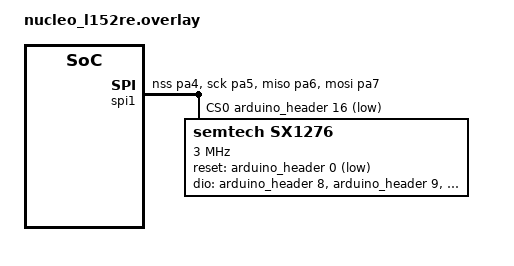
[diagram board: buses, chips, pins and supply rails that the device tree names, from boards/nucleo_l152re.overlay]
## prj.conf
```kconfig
CONFIG_LOG=y
CONFIG_SPI=y
CONFIG_GPIO=y
CONFIG_LORA=y
CONFIG_LORA_SX12XX=y
CONFIG_LORA_SX127X=y
CONFIG_LORAWAN=y
# CONFIG_LORAMAC_REGION_IN865=y
CONFIG_LORAMAC_REGION_US915=y
CONFIG_HAS_SEMTECH_RADIO_DRIVERS=y
CONFIG_HAS_SEMTECH_SOFT_SE=y
# CONFIG_HAS_SEMTECH_SX1276=y
# CONFIG_SPI_LOG_LEVEL_DBG=y
CONFIG_LORA_LOG_LEVEL_DBG=y
CONFIG_LORAWAN_LOG_LEVEL_DBG=y

CONFIG_MAIN_STACK_SIZE=2048
CONFIG_SYSTEM_WORKQUEUE_STACK_SIZE=2048
CONFIG_SETTINGS_LOG_LEVEL_DBG=y
CONFIG_SETTINGS=y
CONFIG_SETTINGS_NVS=y
CONFIG_SETTINGS_NVS_SECTOR_SIZE_MULT=4
CONFIG_SETTINGS_NVS_SECTOR_COUNT=8
# CONFIG_SETTINGS_RUNTIME=y
CONFIG_NVS=y
CONFIG_FLASH=y
CONFIG_FLASH_MAP=y
CONFIG_FLASH_PAGE_LAYOUT=y
CONFIG_LORAWAN_NVM_SETTINGS=y
```

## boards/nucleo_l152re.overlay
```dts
/ {
	aliases {
		lora0 = &lora;
	};
};

arduino_spi: &spi1 {};

&arduino_spi {
    status = "okay";

	pinctrl-0 = <&spi1_nss_pa4 &spi1_sck_pa5
		     &spi1_miso_pa6 &spi1_mosi_pa7>;

	pinctrl-names = "default";

	cs-gpios = <&arduino_header 16 GPIO_ACTIVE_LOW>;	/* D10 */

	lora: lora@0 {
		compatible = "semtech,sx1276";
		reg = <0x0>;
		label = "sx1276";
		spi-max-frequency = <3000000>;

		reset-gpios = <&arduino_header 0 GPIO_ACTIVE_LOW>;   /* A0 */

		dio-gpios = <&arduino_header 8 (GPIO_PULL_DOWN | GPIO_ACTIVE_HIGH)>,	   /* DIO0 is D2 */
		            <&arduino_header 9 (GPIO_PULL_DOWN | GPIO_ACTIVE_HIGH)>,	   /* DIO1 is D3 */
			    <&arduino_header 10 (GPIO_PULL_DOWN | GPIO_ACTIVE_HIGH)>,	   /* DIO2 is D4 */
			    <&arduino_header 11 (GPIO_PULL_DOWN | GPIO_ACTIVE_HIGH)>;	   /* DIO3 is D5 */

		power-amplifier-output = "rfo";
	};
};

/delete-node/ &storage_partition;
&flash0 {
	partitions {
		compatible = "fixed-partitions";
		#address-cells = <1>;
		#size-cells = <1>;

		/* Set 2KB of storage at the end of 512KB flash */
		storage_partition: partition@70000 {
			label = "storage";
			reg = <0x00070000 DT_SIZE_K(16)>;
		};
	};
};
```

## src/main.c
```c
/*
 * Class A LoRaWAN sample application
 *
 * Copyright (c) 2020 Manivannan Sadhasivam <mani@kernel.org>
 *
 * SPDX-License-Identifier: Apache-2.0
 */

#include <zephyr/device.h>
#include <zephyr/lorawan/lorawan.h>.h>
#include <zephyr/lorawan/lorawan.h>
#include <zephyr/zephyr.h>

#define DEFAULT_RADIO_NODE DT_ALIAS(lora0)
BUILD_ASSERT(DT_NODE_HAS_STATUS(DEFAULT_RADIO_NODE, okay),
             "No default LoRa radio specified in DT");
#define DEFAULT_RADIO DT_LABEL(DEFAULT_RADIO_NODE)

/* Customize based on network configuration */
// #define LORAWAN_DEV_EUI			{ 0x60, 0x81, 0xF9, 0xB1, 0x65, 0x50, 0x26, 0xB7 }
// #define LORAWAN_JOIN_EUI		{ 0x60, 0x81, 0xF9, 0x3B, 0xA8, 0xA6, 0xF0, 0xB6 }
// #define LORAWAN_APP_KEY			{ 0x73, 0x33, 0x78, 0x62, 0x5D, 0x89, 0xAC, 0x89, 0xEC, 0xDB, 0x61, 0xCD, 0x95, 0x33, 0x13, 0xED }

// Currently requires ChirpStack setup with LoRaWAN 1.0.4 / RP1.0.1
#define LORAWAN_DEV_EUI                                                        \
  { \
    0x8c, 0x26, 0x2e, 0x11, 0xf2, 0x61, 0xb7, 0xdd \
      }
#define LORAWAN_JOIN_EUI		{ 0x00, 0x00, 0x00, 0x00, 0x00, 0x00, 0x00, 0x00 }
#define LORAWAN_APP_KEY                                                        \
  {                                                                            \
0x18, 0xA4, 0x1C, 0xC8, 0x3D, 0x27, 0x36, 0x0E, 0x0D, 0x3E, 0x47, 0x53, 0xF5, 0x11, 0xBF, 0xF7 \
  }
#define LORAWAN_NWK_KEY                                                        \
  {                                                                            \
0x3D, 0xCE, 0x53, 0x04, 0x7D, 0xFD, 0x0C, 0xF5, 0x22, 0x47, 0x8A, 0xBD, 0xE3, 0x10, 0x75, 0x15 \
  }

#define DELAY K_MSEC(10000)

#define LOG_LEVEL CONFIG_LOG_DEFAULT_LEVEL
#include <zephyr/logging/log.h>
LOG_MODULE_REGISTER(lorawan_class_a);

// Max Payload of DR_0 is 11, but "HelloWorld" seems exceeds it
char data[] =
    {
        'h', 'e', 'l', 'l', 'o',
    };

static void
dl_callback(uint8_t port, bool data_pending, int16_t rssi, int8_t snr,
            uint8_t len, const uint8_t *data) {
  LOG_INF("Port %d, Pending %d, RSSI %ddB, SNR %ddBm", port, data_pending, rssi, snr);
  if (data) {
    LOG_HEXDUMP_INF(data, len, "Payload: ");
  }
}

static void lorwan_datarate_changed(enum lorawan_datarate dr)
{
  uint8_t unused, max_size;

  lorawan_get_payload_sizes(&unused, &max_size);
  LOG_INF("New Datarate: DR_%d, Max Payload %d", dr, max_size);
}

void main(void)
{
  const struct device *lora_dev;
  struct lorawan_join_config join_cfg;
  uint8_t dev_eui[] = LORAWAN_DEV_EUI;
  uint8_t join_eui[] = LORAWAN_JOIN_EUI;
  uint8_t app_key[] = LORAWAN_APP_KEY;
  uint8_t nwk_key[] = LORAWAN_NWK_KEY;
  int ret;

  struct lorawan_downlink_cb downlink_cb = {
    .port = LW_RECV_PORT_ANY,
    .cb = dl_callback
  };

  lora_dev = device_get_binding(DEFAULT_RADIO);
  if (!lora_dev) {
    LOG_ERR("%s Device not found", DEFAULT_RADIO);
    return;
  }

  ret = lorawan_start();
  if (ret < 0) {
    LOG_ERR("lorawan_start failed: %d", ret);
    return;
  }

  lorawan_register_downlink_callback(&downlink_cb);
  lorawan_register_dr_changed_callback(lorwan_datarate_changed);

  join_cfg.mode = LORAWAN_ACT_OTAA;
  join_cfg.dev_eui = dev_eui;
  join_cfg.otaa.join_eui = join_eui;
  join_cfg.otaa.app_key = app_key;
  join_cfg.otaa.nwk_key = app_key;

  do {
    LOG_INF("Joining network over OTAA");
    ret = lorawan_join(&join_cfg);
    if (ret < 0) {
      LOG_ERR("lorawan_join_network failed: %d", ret);
      k_sleep(DELAY);
      continue;
    }
    break;
  }while(1);

  while (1) {
    LOG_INF("Sending data...");
    ret = lorawan_send(2, data, sizeof(data),
                       LORAWAN_MSG_CONFIRMED);

    /*
     * Note: The stack may return -EAGAIN if the provided data
     * length exceeds the maximum possible one for the region and
     * datarate. But since we are just sending the same data here,
     * we'll just continue.
     */
    if (ret == -EAGAIN) {
      LOG_ERR("lorawan_send failed: %d. Continuing...", ret);
      k_sleep(DELAY);
      continue;
    }

    if (ret < 0) {
      LOG_ERR("lorawan_send failed: %d", ret);
      k_sleep(DELAY);
      continue;
    }

    LOG_INF("Data sent!");
    k_sleep(DELAY);
  }
}
```
